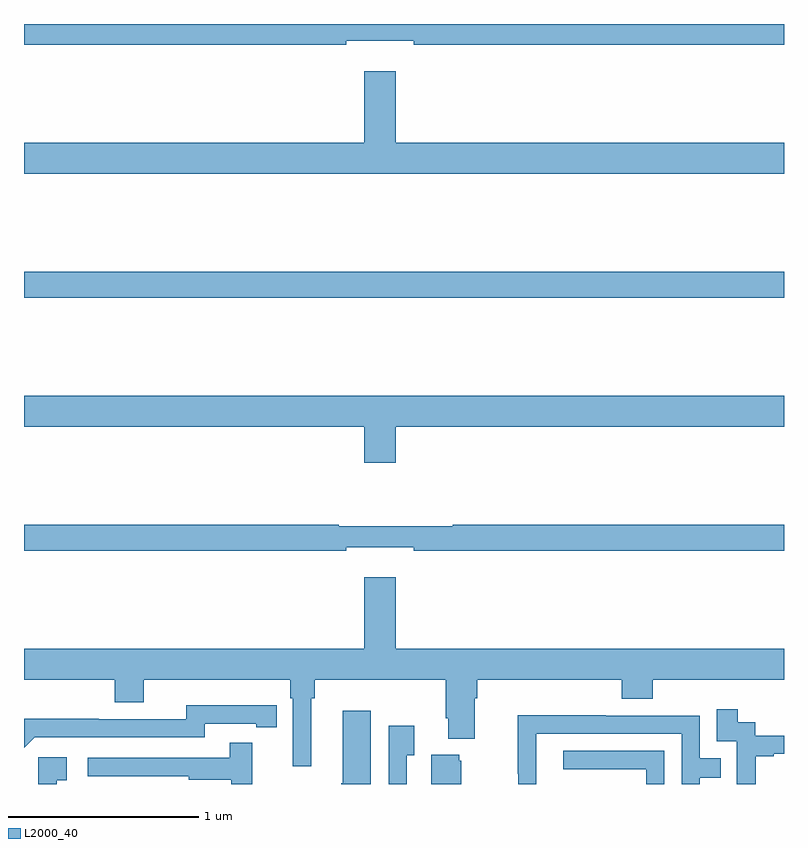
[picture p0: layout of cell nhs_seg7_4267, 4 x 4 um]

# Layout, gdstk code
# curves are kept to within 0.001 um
import gdstk
lib = gdstk.Library(unit=1e-6, precision=1e-09)
def R(c, l, rs):  # rectangles x0, y0, x1, y1
    for r in rs: c.add(gdstk.rectangle(r[:2], r[2:], *l))
def P(c, l, *ps):  # polygons
    for p in ps: c.add(gdstk.Polygon(p, *l))
L2000_40 = (2000, 40)

nhs_seg7_4267 = lib.new_cell('nhs_seg7_4267')
R(nhs_seg7_4267, L2000_40, [(379,1070.56,383,1070.696)])
P(nhs_seg7_4267, L2000_40, [(380.696,1071.911),(381.052,1071.911),(381.052,1071.892),(383,1071.892),(383,1072),(379,1072),(379,1071.892),(380.696,1071.892)],
  [(383,1071.376),(380.956,1071.376),(380.956,1071.751),(380.792,1071.751),(380.792,1071.376),(379,1071.376),(379,1071.212),(383,1071.212)],
  [(380.956,1069.88),(383,1069.88),(383,1070.044),(379,1070.044),(379,1069.88),(380.792,1069.88),(380.792,1069.692),(380.956,1069.692)],
  [(380.696,1069.247),(381.052,1069.247),(381.052,1069.228),(383,1069.228),(383,1069.364),(381.257,1069.364),(381.257,1069.357),(380.657,1069.357),(380.657,1069.364),(379,1069.364),(379,1069.228),(380.696,1069.228)],
  [(380.512,1068.452),(380.531,1068.452),(380.531,1068.548),(381.221,1068.548),(381.221,1068.346),(381.233,1068.346),(381.233,1068.239),(381.373,1068.239),(381.373,1068.452),(381.386,1068.452),(381.386,1068.548),(382.145,1068.548),(382.145,1068.449),(382.31,1068.449),(382.31,1068.548),(383,1068.548),(383,1068.712),(380.956,1068.712),(380.956,1069.087),(380.792,1069.087),(380.792,1068.712),(379,1068.712),(379,1068.548),(379.478,1068.548),(379.478,1068.431),(379.63,1068.431),(379.63,1068.548),(380.402,1068.548),(380.402,1068.452),(380.415,1068.452),(380.415,1068.093),(380.512,1068.093)],
  [(379.056,1068.246),(379.95,1068.246),(379.95,1068.318),(380.222,1068.318),(380.222,1068.298),(380.33,1068.298),(380.33,1068.414),(379.854,1068.415),(379.854,1068.342),(379.394,1068.342),(379.394,1068.344),(379,1068.344),(379,1068.19)],
  [(382.85,1068.147),(382.945,1068.147),(382.945,1068.159),(383,1068.159),(383,1068.255),(382.848,1068.255),(382.848,1068.324),(382.756,1068.324),(382.756,1068.394),(382.647,1068.394),(382.647,1068.225),(382.752,1068.225),(382.752,1068),(382.85,1068)],
  [(380.824,1068.385),(380.678,1068.385),(380.678,1068.005),(380.671,1068.005),(380.671,1068),(380.824,1068)],
  [(381.696,1068.264),(382.461,1068.264),(382.461,1068),(382.557,1068),(382.557,1068.034),(382.667,1068.034),(382.667,1068.135),(382.557,1068.135),(382.557,1068.36),(382.061,1068.36),(382.061,1068.362),(381.598,1068.362),(381.598,1068.055),(381.6,1068.055),(381.6,1068),(381.696,1068)],
  [(381.015,1068.151),(381.055,1068.151),(381.055,1068.307),(380.919,1068.307),(380.919,1068),(381.015,1068)],
  [(380.201,1068.217),(380.083,1068.217),(380.083,1068.138),(379.335,1068.138),(379.335,1068.042),(379.867,1068.042),(379.867,1068.022),(380.091,1068.022),(380.091,1068),(380.201,1068)],
  [(382.371,1068.174),(381.837,1068.174),(381.837,1068.078),(382.275,1068.078),(382.275,1068),(382.371,1068)],
  [(381.301,1068.123),(381.29,1068.123),(381.29,1068.154),(381.143,1068.154),(381.143,1068),(381.301,1068)],
  [(379.172,1068.021),(379.225,1068.021),(379.225,1068.142),(379.074,1068.142),(379.074,1068),(379.172,1068)])

lib.write_gds('nhs_seg7_4267.gds')
